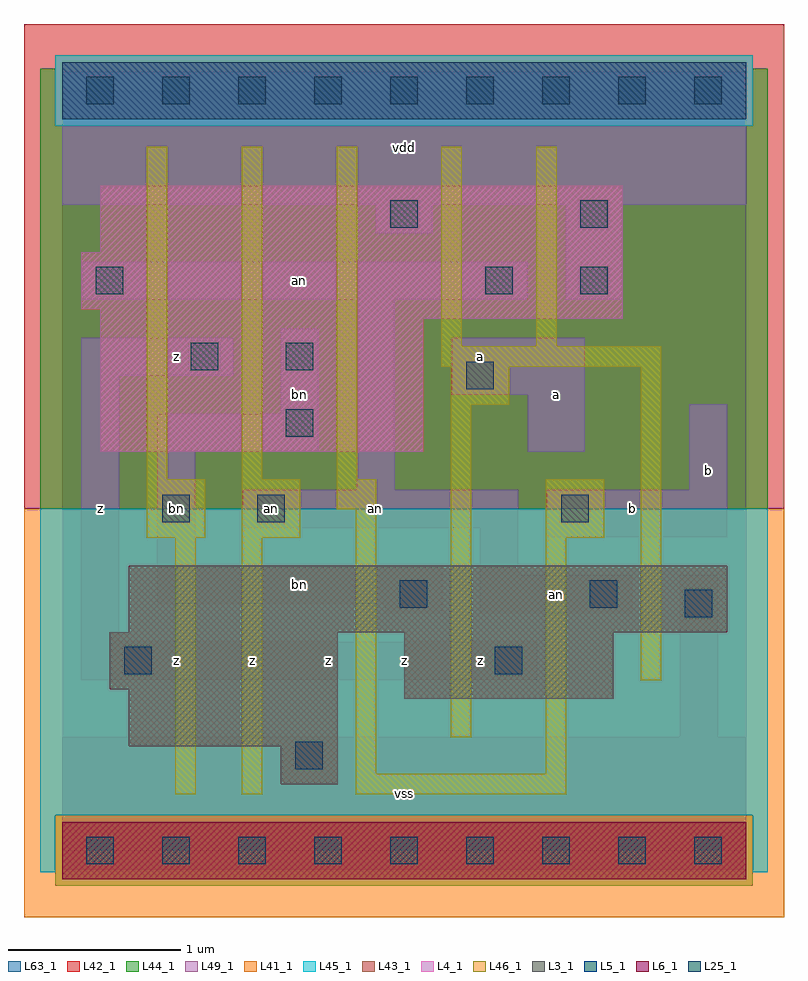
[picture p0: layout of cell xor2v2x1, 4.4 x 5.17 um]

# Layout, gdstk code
import gdstk
lib = gdstk.Library(unit=1e-6, precision=1e-09)
def R(c, l, rs):  # rectangles x0, y0, x1, y1
    for r in rs: c.add(gdstk.rectangle(r[:2], r[2:], *l))
def A(c, l, x, y, w, h, nx, ny, dx, dy):  # array of equal rectangles
    R(c, l, [(x+i*dx, y+j*dy, x+i*dx+w, y+j*dy+h) for i in range(nx) for j in range(ny)])
L3_1 = (3, 1)
L4_1 = (4, 1)
L5_1 = (5, 1)
L6_1 = (6, 1)
L25_1 = (25, 1)
L41_1 = (41, 1)
L42_1 = (42, 1)
L43_1 = (43, 1)
L44_1 = (44, 1)
L45_1 = (45, 1)
L46_1 = (46, 1)
L49_1 = (49, 1)
L63_1 = (63, 1)

xor2v2x1 = lib.new_cell('xor2v2x1')
R(xor2v2x1, L3_1, [(1.265,0.385,1.595,0.605), (0.385,0.605,1.595,0.935), (1.98,0.88,3.19,1.265), (0.275,0.935,1.595,1.265), (0.385,1.265,3.85,1.65)])
R(xor2v2x1, L4_1, [(0.22,2.31,2.09,3.08), (0.22,3.08,3.245,3.135), (0.11,3.135,3.245,3.465), (0.22,3.465,3.245,3.85)])
R(xor2v2x1, L5_1, [(0,4.235,3.96,4.565)])
R(xor2v2x1, L6_1, [(0,-0.165,3.96,0.165)])
A(xor2v2x1, L25_1, 0.14, -0.08, 0.16, 0.16, 9, 2, 0.44, 4.4)
R(xor2v2x1, L25_1, [(1.35,0.47,1.51,0.63), (0.36,1.02,0.52,1.18), (2.505,1.02,2.665,1.18), (3.605,1.35,3.765,1.51), (1.955,1.405,2.115,1.565), (3.055,1.405,3.215,1.565), (0.58,1.9,0.74,2.06), (1.13,1.9,1.29,2.06), (2.89,1.9,3.05,2.06), (1.295,2.395,1.455,2.555), (2.34,2.67,2.5,2.83), (0.745,2.78,0.905,2.94), (1.295,2.78,1.455,2.94), (0.195,3.22,0.355,3.38), (2.45,3.22,2.61,3.38), (3,3.22,3.16,3.38), (1.9,3.605,2.06,3.765), (3,3.605,3.16,3.765)])
R(xor2v2x1, L41_1, [(-0.22,-0.385,4.18,1.98)])
R(xor2v2x1, L42_1, [(-0.22,1.98,4.18,4.785)])
R(xor2v2x1, L43_1, [(0,-0.165,3.96,0.165), (1.265,0.385,1.595,0.605), (0.385,0.605,1.595,0.935), (1.98,0.88,3.19,1.265), (0.275,0.935,1.595,1.265), (0.385,1.265,3.85,1.65), (0.22,2.31,2.09,3.08), (0.22,3.08,3.245,3.135), (0.11,3.135,3.245,3.465), (0.22,3.465,3.245,3.85), (0,4.235,3.96,4.565)])
R(xor2v2x1, L44_1, [(-0.04,-0.205,4,0.205), (-0.125,1.98,4.085,4.195), (-0.125,4.195,-0.04,4.525), (4,4.195,4.085,4.525)])
R(xor2v2x1, L45_1, [(-0.125,-0.125,-0.04,0.205), (4,-0.125,4.085,0.205), (-0.125,0.205,4.085,1.98), (-0.04,4.195,4,4.605)])
A(xor2v2x1, L46_1, 0.49, 2.15, 0.12, 1.925, 3, 1, 0.55, 0)
R(xor2v2x1, L46_1, [(0.655,0.325,0.775,1.81), (1.04,0.325,1.16,1.81), (1.7,0.325,2.92,0.445), (1.7,0.445,1.82,1.975), (2.8,0.445,2.92,1.81), (2.25,0.655,2.37,2.58), (3.35,0.985,3.47,2.8), (0.49,1.81,0.83,2.15), (1.04,1.81,1.38,2.15), (2.8,1.81,3.14,2.15), (1.59,1.975,1.82,2.15), (2.25,2.58,2.59,2.8), (2.195,2.8,3.47,2.92), (2.195,2.92,2.315,4.075), (2.745,2.92,2.865,4.075)])
R(xor2v2x1, L49_1, [(0,-0.11,3.96,0.66), (3.575,0.66,3.795,1.595), (0.11,0.99,2.75,1.21), (0.11,1.21,0.33,2.75), (1.87,1.375,2.2,1.43), (2.42,1.375,3.3,1.595), (0.55,1.43,2.2,1.65), (2.42,1.595,2.64,1.87), (0.55,1.65,0.77,2.31), (2.805,1.815,3.85,2.09), (1.045,1.87,2.64,2.09), (1.705,2.09,1.925,3.19), (3.63,2.09,3.85,2.585), (0.55,2.31,1.485,2.53), (2.695,2.31,3.025,2.64), (1.265,2.53,1.485,3.025), (2.255,2.64,3.025,2.97), (0.11,2.75,0.99,2.97), (0.11,3.19,2.695,3.41), (2.915,3.19,3.245,3.74), (1.815,3.575,2.145,3.74), (0,3.74,3.96,4.51)])
R(xor2v2x1, L63_1, [(0,0,3.96,4.4)])
xor2v2x1.add(gdstk.Label('bn', (0.66,1.98), layer=49, texttype=1))
xor2v2x1.add(gdstk.Label('an', (1.21,1.98), layer=49, texttype=1))
xor2v2x1.add(gdstk.Label('z', (0.22,1.98), layer=49, texttype=1))
xor2v2x1.add(gdstk.Label('z', (0.66,1.1), layer=49, texttype=1))
xor2v2x1.add(gdstk.Label('z', (1.1,1.1), layer=49, texttype=1))
xor2v2x1.add(gdstk.Label('bn', (0.66,1.98), layer=49, texttype=1))
xor2v2x1.add(gdstk.Label('bn', (1.375,2.64), layer=49, texttype=1))
xor2v2x1.add(gdstk.Label('z', (0.66,2.86), layer=49, texttype=1))
xor2v2x1.add(gdstk.Label('vss', (1.98,0.33), layer=49, texttype=1))
xor2v2x1.add(gdstk.Label('z', (1.54,1.1), layer=49, texttype=1))
xor2v2x1.add(gdstk.Label('bn', (1.375,1.54), layer=49, texttype=1))
xor2v2x1.add(gdstk.Label('z', (1.98,1.1), layer=49, texttype=1))
xor2v2x1.add(gdstk.Label('vdd', (1.98,4.07), layer=49, texttype=1))
xor2v2x1.add(gdstk.Label('z', (2.42,1.1), layer=49, texttype=1))
xor2v2x1.add(gdstk.Label('an', (1.815,1.98), layer=49, texttype=1))
xor2v2x1.add(gdstk.Label('a', (2.86,2.64), layer=49, texttype=1))
xor2v2x1.add(gdstk.Label('a', (2.42,2.86), layer=49, texttype=1))
xor2v2x1.add(gdstk.Label('an', (1.375,3.3), layer=49, texttype=1))
xor2v2x1.add(gdstk.Label('an', (2.86,1.485), layer=49, texttype=1))
xor2v2x1.add(gdstk.Label('b', (3.3,1.98), layer=49, texttype=1))
xor2v2x1.add(gdstk.Label('b', (3.74,2.2), layer=49, texttype=1))

lib.write_gds('xor2v2x1.gds')
